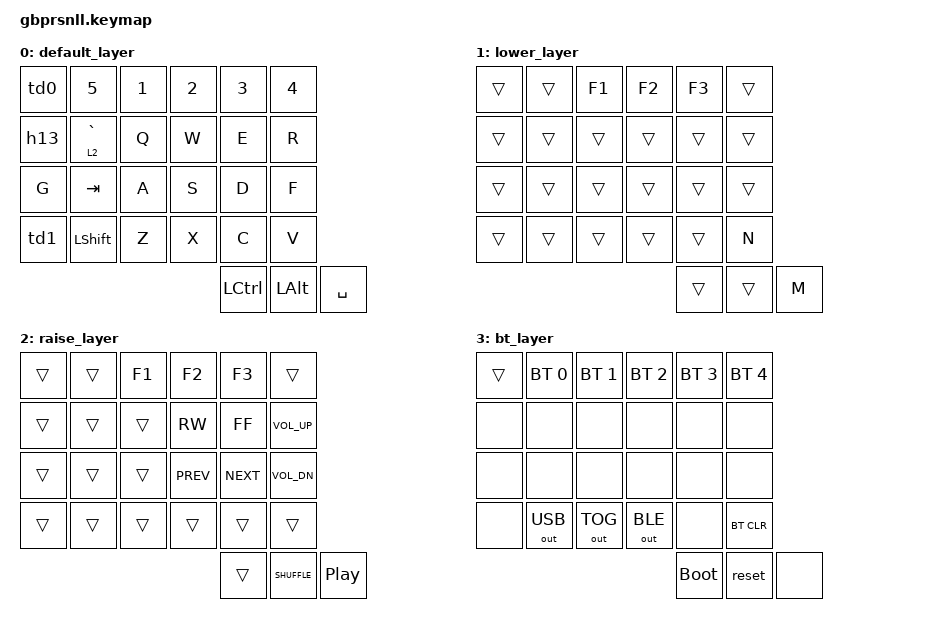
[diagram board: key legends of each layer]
/*
 * Copyright (c) 2020 The ZMK Contributors
 *
 * SPDX-License-Identifier: MIT
 */

#include <behaviors.dtsi>
#include <dt-bindings/zmk/keys.h>
#include <dt-bindings/zmk/bt.h>
#include <dt-bindings/zmk/outputs.h>

#define DEFAULT 0
#define LOWER 	1
#define RAISE	2
#define BT 		3

/ {	
	behaviors {
        td0: tap_dance_0 {
            compatible = "zmk,behavior-tap-dance";
            label = "TAP_DANCE_0";
            #binding-cells = <0>;
            tapping-term-ms = <175>;
            bindings = <&kp ESC>, <&mo 3>;
        };

		td1: tap_dance_1 {
            compatible = "zmk,behavior-tap-dance";
            label = "TAP_DANCE_1";
            #binding-cells = <0>;
            tapping-term-ms = <200>;
            bindings = <&kp N>, <&mo 1>;
		};

		h13: tap_dance_2 {
            compatible = "zmk,behavior-tap-dance";
            label = "TAP_DANCE_2";
            #binding-cells = <0>;
            tapping-term-ms = <200>;
            bindings = <&kp H>, <&kp F13>;
		};
    };

	keymap {
		compatible = "zmk,keymap";
		
		default_layer {
			bindings = <
                &td0		   	&kp N5      	&kp N1      	&kp N2          &kp N3      	&kp N4                  
				&h13	   		&lt 2 GRAVE     &kp Q       	&kp W           &kp E       	&kp R                  
                &kp G		   	&kp TAB       	&kp A       	&kp S           &kp D       	&kp F                   
                &td1	   		&kp LSHFT      	&kp Z       	&kp X           &kp C       	&kp V                  
                                                    							&kp LCTRL       &kp LALT    	&kp SPACE      				
			>;  
		};

		lower_layer {
			 bindings = <
				&trans 			&trans			&kp F1			&kp F2			&kp F3			&trans                               
				&trans			&trans 			&trans 			&trans 			&trans 			&trans                                   
                &trans 			&trans 			&trans 			&trans 			&trans 			&trans                             
                &trans		 	&trans			&trans			&trans			&trans 			&kp N                             
                                                                                &trans			&trans 			&kp M		  		
			 >;
		 };

		raise_layer {
			 bindings = <
				&trans 			&trans			&kp F1			&kp F2			&kp F3			&trans                               
				&trans			&trans 			&trans 			&kp C_RW 		&kp C_FF 		&kp C_VOL_UP                                   
                &trans 			&trans 			&trans 			&kp C_PREV		&kp C_NEXT		&kp C_VOL_DN                             
                &trans		 	&trans			&trans			&trans			&trans 			&trans                             
                                                                                &trans			&kp C_SHUFFLE	&kp C_PP		  		
			 >;
		 };

		bt_layer {
			 bindings = <
				&trans 			&bt BT_SEL 0	&bt BT_SEL 1	&bt BT_SEL 2	&bt BT_SEL 3	&bt BT_SEL 4                               
				&none			&none 			&none 			&none 			&none 			&none                                   
                &none 			&none 			&none 			&none 			&none 			&none                             
                &none		 	&out OUT_USB	&out OUT_TOG	&out OUT_BLE	&none 			&bt BT_CLR                             
                                                                                &bootloader		&reset 			&none		  		
			 >;
		 };
	};
};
